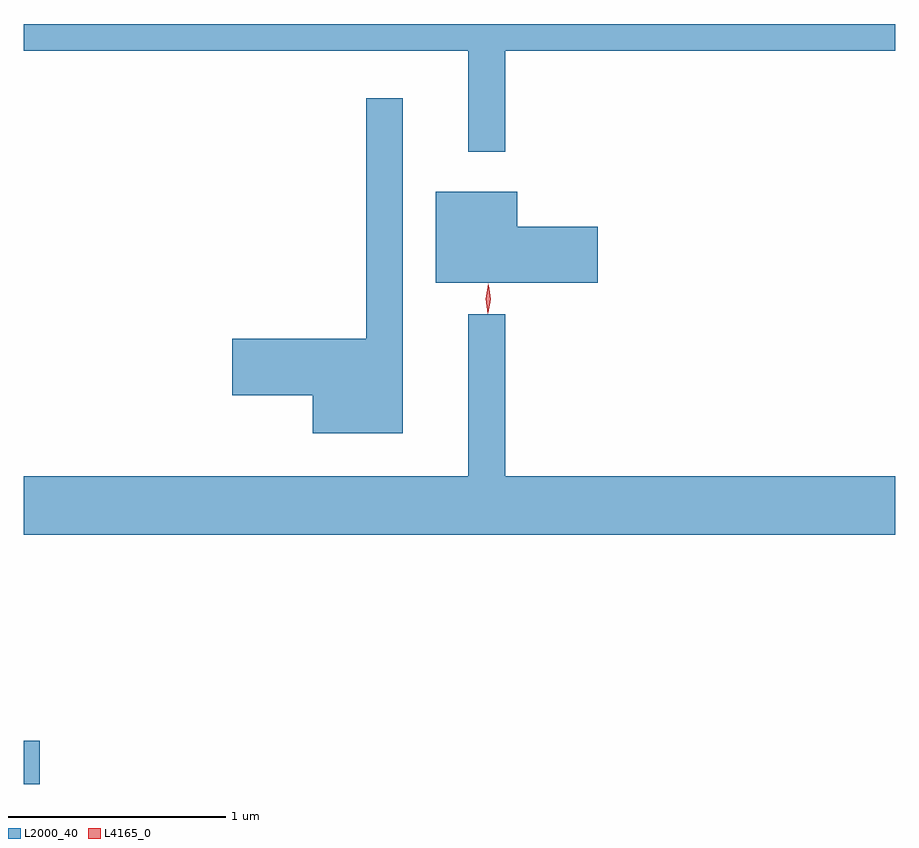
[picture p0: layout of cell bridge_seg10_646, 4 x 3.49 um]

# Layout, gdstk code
import gdstk
lib = gdstk.Library(unit=1e-6, precision=1e-09)
def R(c, l, rs):  # rectangles x0, y0, x1, y1
    for r in rs: c.add(gdstk.rectangle(r[:2], r[2:], *l))
def P(c, l, *ps):  # polygons
    for p in ps: c.add(gdstk.Polygon(p, *l))
L2000_40 = (2000, 40)
L4165_0 = (4165, 0)

bridge_seg10_646 = lib.new_cell('bridge_seg10_646')
R(bridge_seg10_646, L2000_40, [(1009.1,2095.011,1009.174,2095.209)])
P(bridge_seg10_646, L2000_40, [(1011.309,2098.376),(1013.1,2098.376),(1013.1,2098.499),(1009.1,2098.499),(1009.1,2098.376),(1011.141,2098.376),(1011.141,2097.913),(1011.309,2097.913)],
  [(1010.839,2098.158),(1010.671,2098.158),(1010.671,2097.054),(1010.056,2097.054),(1010.056,2096.796),(1010.426,2096.796),(1010.426,2096.621),(1010.839,2096.621)],
  [(1011.734,2097.569),(1011.364,2097.569),(1011.364,2097.729),(1010.991,2097.729),(1010.991,2097.311),(1011.734,2097.311)],
  [(1013.1,2096.424),(1011.309,2096.424),(1011.309,2097.168),(1011.141,2097.168),(1011.141,2096.424),(1009.1,2096.424),(1009.1,2096.156),(1013.1,2096.156)])
P(bridge_seg10_646, L4165_0, [(1011.231,2097.173),(1011.223,2097.236),(1011.233,2097.299),(1011.234,2097.3),(1011.234,2097.299),(1011.243,2097.236),(1011.232,2097.173),(1011.232,2097.173)],
  [(1011.229,2097.17),(1011.229,2097.17),(1011.22,2097.238),(1011.231,2097.305),(1011.231,2097.306),(1011.232,2097.305),(1011.24,2097.238),(1011.23,2097.17)])

lib.write_gds('bridge_seg10_646.gds')
